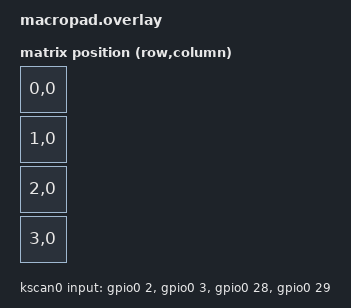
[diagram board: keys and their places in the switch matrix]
#include <dt-bindings/zmk/matrix_transform.h>

/ {
    chosen {
        zmk,kscan = &kscan0;
        zmk,matrix_transform = &default_transform;
    };

    default_transform: keymap_transform_0 {
        compatible = "zmk,matrix-transform";
        columns = <1>;
        rows = <4>;
        map = 
            RC(0,0)
            RC(1,0)
            RC(2,0)
            RC(3,0)
        >;
    };

    kscan0: kscan {
        compatible = "zmk,kscan-gpio-direct";
        label = "KSCAN";
        input-gpios
            = <&gpio0 2 (GPIO_ACTIVE_LOW | GPIO_PULL_UP)>
            , <&gpio0 3 (GPIO_ACTIVE_LOW | GPIO_PULL_UP)>
            , <&gpio0 28 (GPIO_ACTIVE_LOW | GPIO_PULL_UP)>
            , <&gpio0 29 (GPIO_ACTIVE_LOW | GPIO_PULL_UP)>
            ;
    };
};
